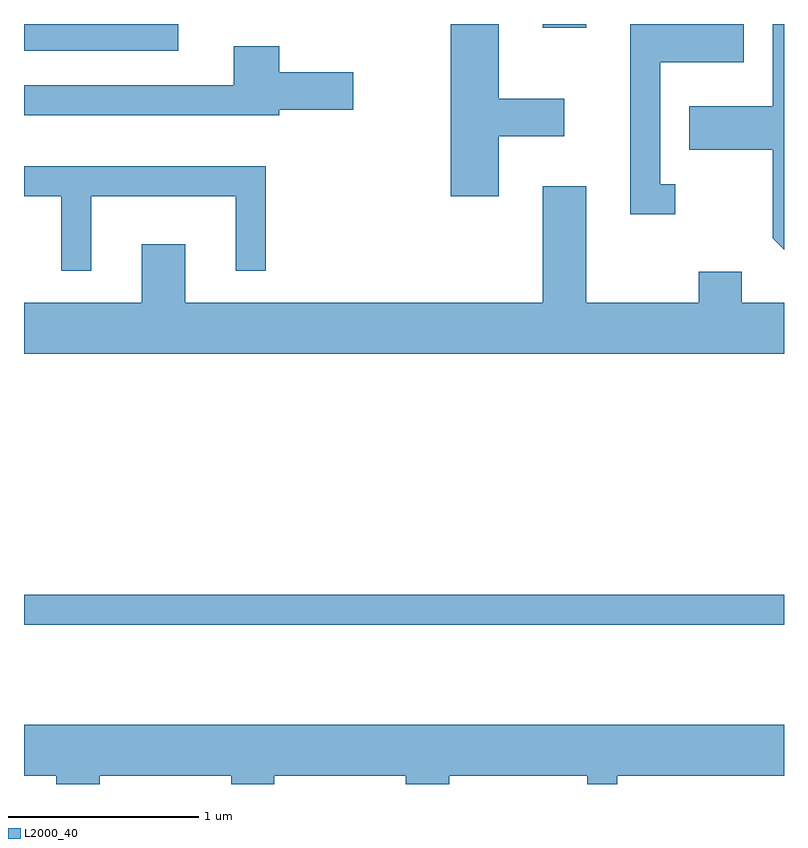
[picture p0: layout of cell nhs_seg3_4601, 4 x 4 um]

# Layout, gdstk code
import gdstk
lib = gdstk.Library(unit=1e-6, precision=1e-09)
def R(c, l, rs):  # rectangles x0, y0, x1, y1
    for r in rs: c.add(gdstk.rectangle(r[:2], r[2:], *l))
def P(c, l, *ps):  # polygons
    for p in ps: c.add(gdstk.Polygon(p, *l))
L2000_40 = (2000, 40)

nhs_seg3_4601 = lib.new_cell('nhs_seg3_4601')
R(nhs_seg3_4601, L2000_40, [(319.611,1206.731,323.611,1206.889), (319.611,1209.751,320.424,1209.892), (322.341,1209.871,322.569,1209.892)])
P(nhs_seg3_4601, L2000_40, [(322.109,1209.301),(322.454,1209.301),(322.454,1209.499),(322.109,1209.499),(322.109,1209.892),(321.856,1209.892),(321.856,1208.986),(322.109,1208.986)],
  [(323.038,1209.049),(322.959,1209.049),(322.959,1209.691),(323.399,1209.691),(323.399,1209.892),(322.801,1209.892),(322.801,1208.891),(323.038,1208.891)],
  [(323.611,1209.892),(323.551,1209.892),(323.551,1209.459),(323.111,1209.459),(323.111,1209.231),(323.551,1209.231),(323.551,1208.764),(323.611,1208.704)],
  [(320.954,1209.441),(321.344,1209.441),(321.344,1209.639),(320.954,1209.639),(320.954,1209.774),(320.716,1209.774),(320.716,1209.569),(319.611,1209.569),(319.611,1209.411),(320.954,1209.411)],
  [(319.964,1208.986),(320.726,1208.986),(320.726,1208.593),(320.884,1208.593),(320.884,1209.144),(319.611,1209.144),(319.611,1208.986),(319.806,1208.986),(319.806,1208.593),(319.964,1208.593)],
  [(323.611,1208.424),(323.389,1208.424),(323.389,1208.589),(323.161,1208.589),(323.161,1208.424),(322.569,1208.424),(322.569,1209.039),(322.341,1209.039),(322.341,1208.424),(320.459,1208.424),(320.459,1208.734),(320.231,1208.734),(320.231,1208.424),(319.611,1208.424),(319.611,1208.156),(323.611,1208.156)],
  [(320.009,1205.936),(320.701,1205.936),(320.701,1205.892),(320.929,1205.892),(320.929,1205.936),(321.621,1205.936),(321.621,1205.892),(321.849,1205.892),(321.849,1205.936),(322.576,1205.936),(322.576,1205.892),(322.734,1205.892),(322.734,1205.936),(323.611,1205.936),(323.611,1206.204),(319.611,1206.204),(319.611,1205.936),(319.781,1205.936),(319.781,1205.892),(320.009,1205.892)])

lib.write_gds('nhs_seg3_4601.gds')
